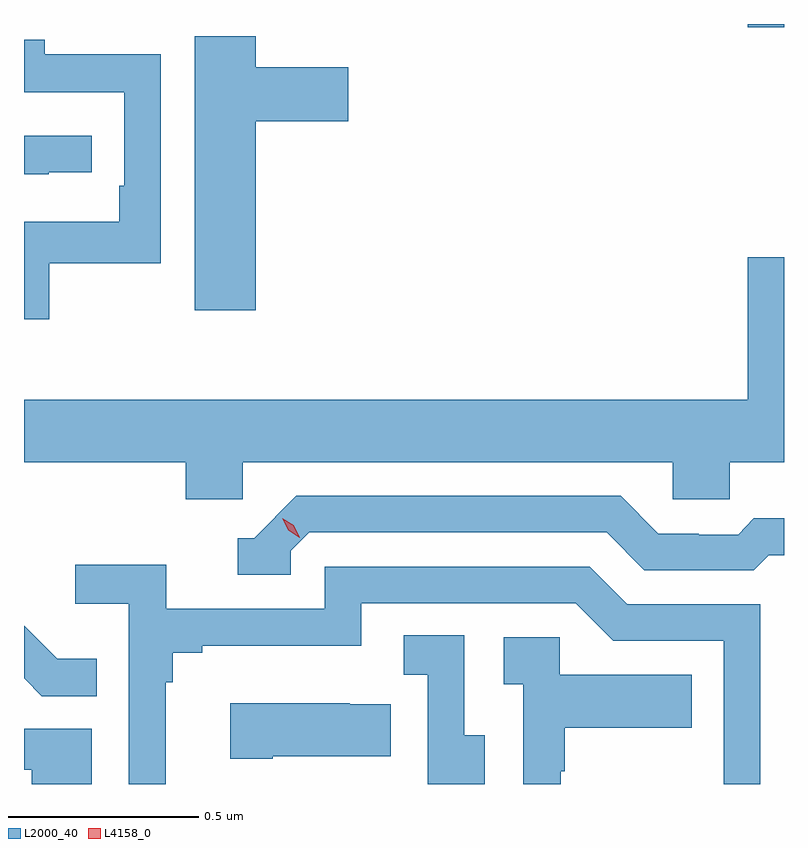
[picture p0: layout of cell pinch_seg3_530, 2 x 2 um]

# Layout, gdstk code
import gdstk
lib = gdstk.Library(unit=1e-6, precision=1e-09)
def R(c, l, rs):  # rectangles x0, y0, x1, y1
    for r in rs: c.add(gdstk.rectangle(r[:2], r[2:], *l))
def P(c, l, *ps):  # polygons
    for p in ps: c.add(gdstk.Polygon(p, *l))
L2000_40 = (2000, 40)
L4158_0 = (4158, 0)

pinch_seg3_530 = lib.new_cell('pinch_seg3_530')
R(pinch_seg3_530, L2000_40, [(956.216,678.084,956.312,678.093)])
P(pinch_seg3_530, L2000_40, [(954.922,677.837),(955.165,677.837),(955.165,677.979),(954.922,677.979),(954.922,678.061),(954.761,678.061),(954.761,677.34),(954.922,677.34)],
  [(954.379,677.463),(954.672,677.463),(954.672,678.014),(954.367,678.014),(954.367,678.052),(954.312,678.052),(954.312,677.913),(954.576,677.913),(954.576,677.668),(954.563,677.668),(954.563,677.572),(954.312,677.572),(954.312,677.316),(954.379,677.316)],
  [(954.377,677.703),(954.49,677.703),(954.49,677.799),(954.312,677.799),(954.312,677.698),(954.377,677.698)],
  [(954.888,676.94),(956.019,676.94),(956.019,676.842),(956.169,676.842),(956.169,676.94),(956.312,676.94),(956.312,677.479),(956.216,677.479),(956.216,677.104),(954.312,677.104),(954.312,676.94),(954.737,676.94),(954.737,676.842),(954.888,676.842)],
  [(955.014,676.707),(955.062,676.755),(955.845,676.755),(955.944,676.656),(956.233,676.656),(956.272,676.695),(956.312,676.695),(956.312,676.792),(956.233,676.792),(956.191,676.749),(956.088,676.749),(956.088,676.752),(955.981,676.752),(955.882,676.851),(955.029,676.851),(954.918,676.74),(954.875,676.74),(954.875,676.644),(955.014,676.644)],
  [(954.685,676.361),(954.704,676.361),(954.704,676.438),(954.781,676.438),(954.781,676.457),(955.2,676.457),(955.2,676.569),(955.764,676.569),(955.863,676.47),(956.154,676.47),(956.154,676.093),(956.25,676.093),(956.25,676.566),(955.9,676.566),(955.801,676.665),(955.104,676.665),(955.104,676.554),(954.686,676.554),(954.686,676.67),(954.447,676.67),(954.447,676.568),(954.588,676.568),(954.588,676.093),(954.685,676.093)],
  [(954.503,676.423),(954.399,676.423),(954.312,676.51),(954.312,676.371),(954.359,676.324),(954.503,676.324)],
  [(955.525,676.221),(955.47,676.221),(955.47,676.484),(955.311,676.484),(955.311,676.381),(955.374,676.381),(955.374,676.093),(955.525,676.093)],
  [(955.725,676.127),(955.735,676.127),(955.735,676.241),(956.069,676.241),(956.069,676.381),(955.722,676.381),(955.722,676.479),(955.575,676.479),(955.575,676.355),(955.626,676.355),(955.626,676.093),(955.725,676.093)],
  [(954.967,676.166),(955.277,676.166),(955.277,676.303),(955.169,676.303),(955.169,676.306),(954.855,676.306),(954.855,676.159),(954.967,676.159)],
  [(954.49,676.239),(954.312,676.239),(954.312,676.131),(954.332,676.131),(954.332,676.093),(954.49,676.093)])
P(pinch_seg3_530, L4158_0, [(955.038,676.741),(955.007,676.761),(954.991,676.793),(954.991,676.793),(954.991,676.793),(955.022,676.774),(955.038,676.742),(955.038,676.741)])

lib.write_gds('pinch_seg3_530.gds')
